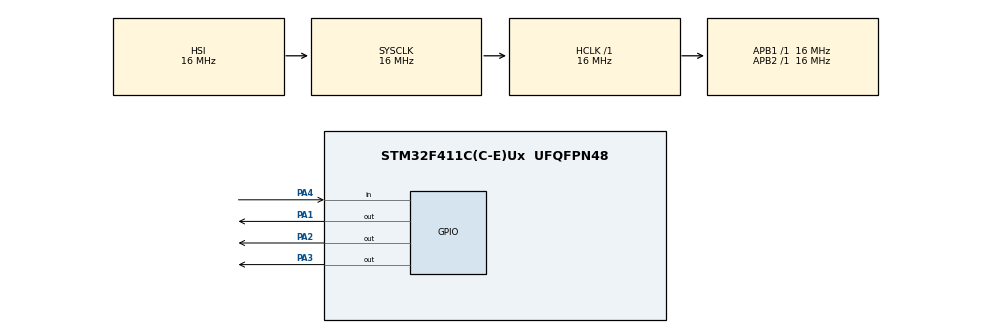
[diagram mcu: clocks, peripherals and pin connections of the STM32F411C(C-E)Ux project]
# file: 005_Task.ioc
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Mcu.Family=STM32F4
Mcu.Name=STM32F411C(C-E)Ux
Mcu.Package=UFQFPN48
NVIC.PriorityGroup=NVIC_PRIORITYGROUP_4
NVIC.TIM1_UP_TIM10_IRQn=true\:15\:0\:false\:false\:true\:false\:true\:true
NVIC.TimeBase=TIM1_UP_TIM10_IRQn
NVIC.TimeBaseIP=TIM10
PA1.Signal=GPIO_Output
PA2.Signal=GPIO_Output
PA3.Signal=GPIO_Output
PA4.GPIO_PuPd=GPIO_PULLUP
PA4.Signal=GPIO_Input
ProjectManager.HeapSize=0x200
ProjectManager.StackSize=0x400
ProjectManager.TargetToolchain=STM32CubeIDE
RCC.AHBFreq_Value=16000000
RCC.APB1Freq_Value=16000000
RCC.APB2Freq_Value=16000000
RCC.CortexFreq_Value=16000000
RCC.HSE_VALUE=25000000
RCC.HSI_VALUE=16000000
RCC.LSE_VALUE=32768
RCC.SYSCLKFreq_VALUE=16000000
RCC.VCOOutputFreq_Value=192000000
VP_SYS_VS_tim10.Mode=TIM10
board=custom

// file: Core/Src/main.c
/* USER CODE BEGIN Header */
/**
  ******************************************************************************
  * @file           : main.c
  * @brief          : Main program body
  ******************************************************************************
  * @attention
  *
  * Copyright (c) 2026 STMicroelectronics.
  * All rights reserved.
  *
  * This software is licensed under terms that can be found in the LICENSE file
  * in the root directory of this software component.
  * If no LICENSE file comes with this software, it is provided AS-IS.
  *
  ******************************************************************************
  */
/* USER CODE END Header */
#include "main.h"

/* USER CODE BEGIN Includes */
#include"FreeRTOS.h"
#include"task.h"
/* USER CODE END Includes */

/* USER CODE BEGIN PD */

//DWT_Cycle count enable for events
#define DWT_CTRL             *((volatile uint32_t *)0xE0001000)

/* USER CODE END PD */

/* USER CODE BEGIN PV */
	TaskHandle_t task1_handle;
	TaskHandle_t task2_handle;
	TaskHandle_t task3_handle;
	TaskHandle_t button_handle;

	TaskHandle_t volatile Next_Task_Handle = NULL;
/* USER CODE END PV */

void SystemClock_Config(void);
static void MX_GPIO_Init(void);
/* USER CODE BEGIN PFP */
static void led_red_handler(void *param);
static void led_green_handler(void *param);
static void led_blue_handler(void *param);
static void button_handler(void *param);
/* USER CODE END PFP */

int main(void)
{

  /* USER CODE BEGIN 1 */
	BaseType_t status;

  /* USER CODE END 1 */

  /* MCU Configuration--------------------------------------------------------*/

  /* Reset of all peripherals, Initializes the Flash interface and the Systick. */
  HAL_Init();

  /* Configure the system clock */
  SystemClock_Config();

  /* Initialize all configured peripherals */
  MX_GPIO_Init();
  /* USER CODE BEGIN 2 */
//ENABLE CYCLE COUNT
  DWT_CTRL |= (1 << 0);

  //SEGGER RECORDING
  SEGGER_SYSVIEW_Conf();

  SEGGER_SYSVIEW_Start();

  //TASK 1
  status = xTaskCreate(led_red_handler,"TASK 1",200,"Hello from TASK1",2,&task1_handle);
  configASSERT(status == pdPASS);
  //TASK 2
  status = xTaskCreate(led_green_handler, "TASK 2", 200, "Hello from Task 2", 2,&task2_handle);
  configASSERT(status == pdPASS);
  //TASK 3
  status = xTaskCreate(led_blue_handler, "TASK 3", 200, "Hello from Task 3", 2, &task3_handle);
  configASSERT(status == pdPASS);

  //Task 4 button
  status = xTaskCreate(button_handler, "TASK 4", 200, "button task", 2, &button_handle);
  configASSERT(status == pdPASS);

  Next_Task_Handle = task1_handle;

  //START SCHEDULER
  vTaskStartScheduler();
  /* USER CODE END 2 */

  /* Infinite loop */
  while (1)
  {

  }
}

void SystemClock_Config(void)
{
  RCC_OscInitTypeDef RCC_OscInitStruct = {0};
  RCC_ClkInitTypeDef RCC_ClkInitStruct = {0};

  /** Configure the main internal regulator output voltage
  */
  __HAL_RCC_PWR_CLK_ENABLE();
  __HAL_PWR_VOLTAGESCALING_CONFIG(PWR_REGULATOR_VOLTAGE_SCALE1);

  /** Initializes the RCC Oscillators according to the specified parameters
  * in the RCC_OscInitTypeDef structure.
  */
  RCC_OscInitStruct.OscillatorType = RCC_OSCILLATORTYPE_HSI;
  RCC_OscInitStruct.HSIState = RCC_HSI_ON;
  RCC_OscInitStruct.HSICalibrationValue = RCC_HSICALIBRATION_DEFAULT;
  RCC_OscInitStruct.PLL.PLLState = RCC_PLL_NONE;
  if (HAL_RCC_OscConfig(&RCC_OscInitStruct) != HAL_OK)
  {
    Error_Handler();
  }

  /** Initializes the CPU, AHB and APB buses clocks
  */
  RCC_ClkInitStruct.ClockType = RCC_CLOCKTYPE_HCLK|RCC_CLOCKTYPE_SYSCLK
                              |RCC_CLOCKTYPE_PCLK1|RCC_CLOCKTYPE_PCLK2;
  RCC_ClkInitStruct.SYSCLKSource = RCC_SYSCLKSOURCE_HSI;
  RCC_ClkInitStruct.AHBCLKDivider = RCC_SYSCLK_DIV1;
  RCC_ClkInitStruct.APB1CLKDivider = RCC_HCLK_DIV1;
  RCC_ClkInitStruct.APB2CLKDivider = RCC_HCLK_DIV1;

  if (HAL_RCC_ClockConfig(&RCC_ClkInitStruct, FLASH_LATENCY_0) != HAL_OK)
  {
    Error_Handler();
  }
}

static void MX_GPIO_Init(void)
{
  GPIO_InitTypeDef GPIO_InitStruct = {0};

  /* GPIO Ports Clock Enable */
  __HAL_RCC_GPIOA_CLK_ENABLE();

  /*Configure GPIO pin Output Level */
  HAL_GPIO_WritePin(GPIOA, GPIO_PIN_1|GPIO_PIN_2|GPIO_PIN_3, GPIO_PIN_RESET);

  /*Configure GPIO pins : PA1 PA2 PA3 */
  GPIO_InitStruct.Pin = GPIO_PIN_1|GPIO_PIN_2|GPIO_PIN_3;
  GPIO_InitStruct.Mode = GPIO_MODE_OUTPUT_PP;
  GPIO_InitStruct.Pull = GPIO_NOPULL;
  GPIO_InitStruct.Speed = GPIO_SPEED_FREQ_LOW;
  HAL_GPIO_Init(GPIOA, &GPIO_InitStruct);

  /*Configure GPIO pin : PA4 */
  GPIO_InitStruct.Pin = GPIO_PIN_4;
  GPIO_InitStruct.Mode = GPIO_MODE_INPUT;
  GPIO_InitStruct.Pull = GPIO_PULLUP;
  HAL_GPIO_Init(GPIOA, &GPIO_InitStruct);

}

/* USER CODE BEGIN 4 */
static void led_red_handler(void *param)
{
	BaseType_t status;
	while(1)
	{
		SEGGER_SYSVIEW_PrintfTarget("Toggling of red led");
		HAL_GPIO_TogglePin(GPIOA, GPIO_RED_LED);
		status = xTaskNotifyWait(0,0,NULL,pdMS_TO_TICKS(800));
		if(status == pdTRUE)
		{
			vTaskSuspendAll();
			Next_Task_Handle = task2_handle;
			xTaskResumeAll();
			HAL_GPIO_WritePin(GPIOA, GPIO_RED_LED, GPIO_PIN_SET);
			SEGGER_SYSVIEW_PrintfTarget("Delete Red led task");
    		vTaskDelete(NULL);
		}
	}
}
static void led_green_handler(void* parameters)
{
        BaseType_t  status;
        while(1)
        {
        	SEGGER_SYSVIEW_PrintfTarget("Toggling of Green led");
        	HAL_GPIO_TogglePin(GPIOA, GPIO_GREEN_LED);
        	status = xTaskNotifyWait(0,0,NULL,pdMS_TO_TICKS(800));
        	if(status == pdTRUE)
        	{
        		vTaskSuspendAll();
        		Next_Task_Handle = task3_handle;
        		xTaskResumeAll();
        		HAL_GPIO_WritePin(GPIOA, GPIO_GREEN_LED, GPIO_PIN_SET);
        		SEGGER_SYSVIEW_PrintfTarget("Delete Green led");
        		vTaskDelete(NULL);
        	}

        }
}

static void led_blue_handler(void *param)
{
	BaseType_t status;
	while(1)
	{
		SEGGER_SYSVIEW_PrintfTarget("Toggling of blue led");
		HAL_GPIO_TogglePin(GPIOA, GPIO_BLUE_LED);
		status = xTaskNotifyWait(0,0,NULL,pdMS_TO_TICKS(400));
		if(status == pdTRUE)
		{
			vTaskSuspendAll();
			Next_Task_Handle = NULL;
			xTaskResumeAll();
			HAL_GPIO_WritePin(GPIOA, GPIO_BLUE_LED, GPIO_PIN_SET);
			SEGGER_SYSVIEW_PrintfTarget("DELETE_BLUE_LED_TASK");
			vTaskDelete(button_handle);
			vTaskDelete(NULL);
		}
	}
}

static void button_handler(void *param)
{
  GPIO_PinState prev_state = HAL_GPIO_ReadPin(GPIOA, GPIO_BUTTON);
  GPIO_PinState curr_state;
	while(1)
	{
		curr_state = HAL_GPIO_ReadPin(GPIOA, GPIO_BUTTON);
    if((prev_state == GPIO_PIN_SET) && (curr_state == GPIO_PIN_RESET) && (Next_Task_Handle != NULL))
		{
      xTaskNotify(Next_Task_Handle, 0, eNoAction);
		}
    prev_state = curr_state;
    vTaskDelay(pdMS_TO_TICKS(10));
	}
}
/* USER CODE END 4 */

void HAL_TIM_PeriodElapsedCallback(TIM_HandleTypeDef *htim)
{
  if (htim->Instance == TIM10)
  {
    HAL_IncTick();
  }
}

void Error_Handler(void)
{
  __disable_irq();
  while (1)
  {
  }
}
